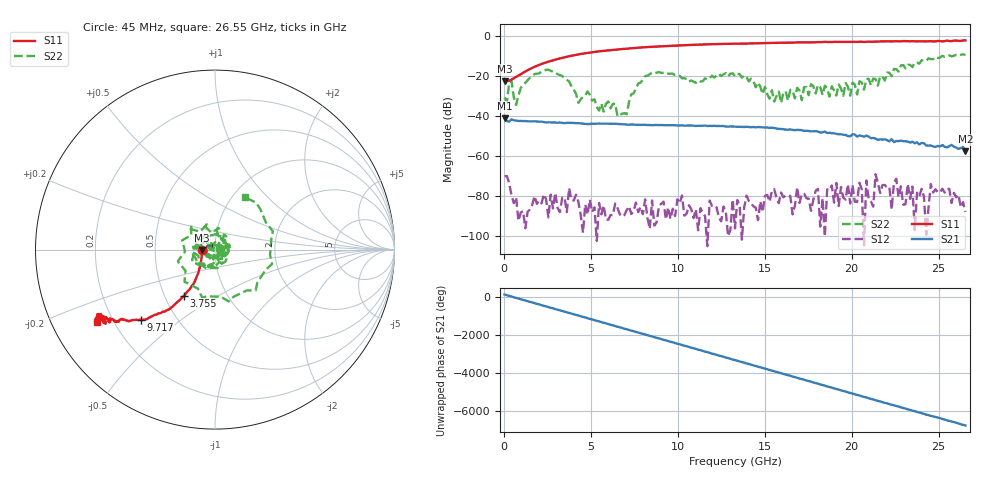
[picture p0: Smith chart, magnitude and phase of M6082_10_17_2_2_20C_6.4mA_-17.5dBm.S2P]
!  2-Port S-parameters saved by WinCal
! VAR MeasName=S-Parameters (CALIBRATED_DATA) read from VNA (C)
! VAR MeasDate=10/16/2015 3:53:54 PM
! VAR NAME=M6082_10_17_2_2_20C_6.4mA_-17.5dBm
! VAR FILENAME=M6082_10_17_2_2_20C_6.4mA_-17.5dBm.S2P
! VAR DATE=10/16/2015 3:53:54 PM
! VAR PHYS_PORTS=2,1
! VAR ObjTypeName=DATASET
! VAR IndexType=Frequency
# Hz S DB R 50
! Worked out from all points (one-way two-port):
!   201 points, 45 MHz to 26.55 GHz, reference 50 ohm
!   highest |S21| = -41.07 dB at 45 MHz (marker M1); lowest = -57.6 dB at 26.55 GHz (marker M2)
!   lowest |S11| = -22.6 dB at 45 MHz (marker M3), VSWR 1.16, Z = 43.1 - j0.199 ohm
!   |S11| at or under -10 dB: start of sweep to 3.825 GHz
!   |S22| runs from -40.1 to -9.2 dB; largest |S21 - S12| = 0.0092
!   S11 on the Smith chart (normalised r, x): 45 MHz: 0.86, -0.00; 3.755 GHz: 0.62, -0.36; 9.717 GHz: 0.31, -0.37; 26.55 GHz: 0.14, -0.28
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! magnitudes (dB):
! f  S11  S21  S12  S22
! 45 MHz  -22.6  -41.1  -69.9  -30.6
! 442.5 MHz  -21.8  -41.6  -79.6  -22.4
! 575 MHz  -21.1  -42.1  -83.4  -30.6
! 2.297 GHz  -13.6  -43.0  -79.1  -17.2
! 3.755 GHz  -10.1  -43.4  -75.9  -22.7
! 4.55 GHz  -8.8  -43.7  -98.2  -30.3
! 7.067 GHz  -6.4  -44.1  -86.8  -39.0
! 7.73 GHz  -5.9  -44.3  -87.9  -23.7
! 8.922 GHz  -5.2  -44.5  -84.7  -18.0
! 9.717 GHz  -4.9  -44.5  -86.2  -18.8
! 13.29 GHz  -3.9  -45.2  -96.0  -20.0
! 15.95 GHz  -3.4  -46.4  -78.1  -33.4
! 17.8 GHz  -3.2  -47.6  -81.7  -25.0
! 19.92 GHz  -2.9  -50.1  -83.6  -29.8
! 20.45 GHz  -2.9  -49.6  -73.2  -22.6
! 20.71 GHz  -3.0  -50.3  -104.4  -26.8
! 20.85 GHz  -2.9  -49.7  -72.1  -21.5
! 21.25 GHz  -2.9  -50.9  -85.2  -21.2
! 21.38 GHz  -2.8  -51.2  -69.0  -21.6
! 21.64 GHz  -2.8  -51.5  -78.3  -20.2
! 22.17 GHz  -2.7  -52.6  -75.3  -18.3
! 26.55 GHz  -2.3  -57.6  -87.8  -9.5
